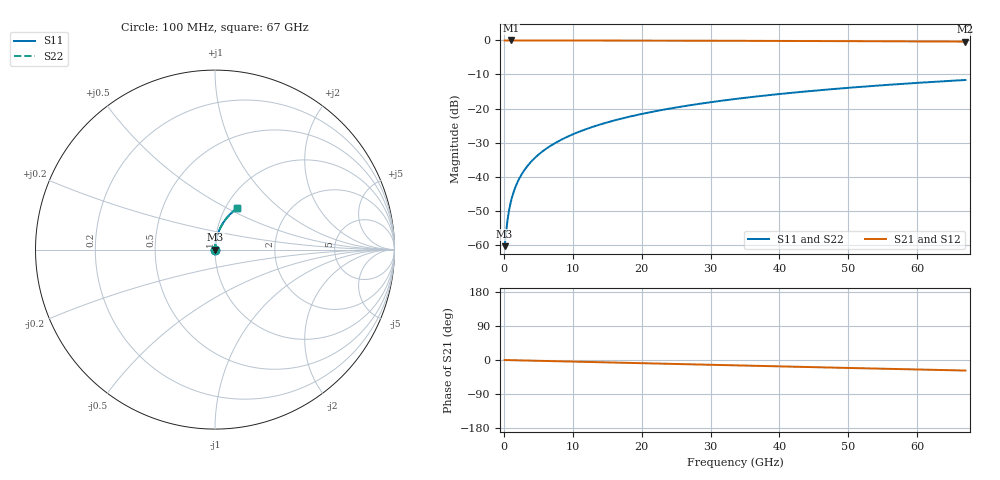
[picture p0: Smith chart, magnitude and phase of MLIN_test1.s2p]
! Touchstone Ver. 1.0
! Number of ports is 2
# Hz  S RI  R  50
! SCATTERING PARAMETERS  :
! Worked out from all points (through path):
!   670 points, 100 MHz to 67 GHz, reference 50 ohm
!   highest |S21| = -0.01 dB at 1 GHz (marker M1); lowest = -0.3 dB at 67 GHz (marker M2)
!   group delay of S21, straight-line fit = 1.16 ps
!   lowest |S11| = -60.4 dB at 100 MHz (marker M3), VSWR 1.00, Z = 50.1 + j0.0419 ohm
!   |S11| at or under -10 dB: start of sweep to end of sweep
!   |S22| runs from -60.4 to -11.6 dB; largest |S21 - S12| = 0
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1e8  0.000856 0.000418  0.9991 -0.000743  0.9991 -0.000743  0.000856 0.000418
3e8  0.000796 0.00126  0.9992 -0.00223  0.9992 -0.00223  0.000796 0.00126
6e8  0.000731 0.00251  0.9993 -0.00446  0.9993 -0.00446  0.000731 0.00251
7e8  0.000725 0.00293  0.9993 -0.0052  0.9993 -0.0052  0.000725 0.00293
1e9  0.00071 0.00419  0.9993 -0.00743  0.9993 -0.00743  0.00071 0.00419
1.2e9  0.000736 0.00502  0.9992 -0.00892  0.9992 -0.00892  0.000736 0.00502
1.5e9  0.00078 0.00628  0.9992 -0.0111  0.9992 -0.0111  0.00078 0.00628
1.8e9  0.00083 0.00753  0.9991 -0.0134  0.9991 -0.0134  0.00083 0.00753
2.2e9  0.000904 0.00921  0.9991 -0.0163  0.9991 -0.0163  0.000904 0.00921
3.1e9  0.00111 0.013  0.9988 -0.023  0.9988 -0.023  0.00111 0.013
4.2e9  0.00143 0.0176  0.9984 -0.0312  0.9984 -0.0312  0.00143 0.0176
5.6e9  0.00195 0.0234  0.9978 -0.0416  0.9978 -0.0416  0.00195 0.0234
7.2e9  0.0027 0.03  0.997 -0.0534  0.997 -0.0534  0.0027 0.03
9.1e9  0.0038 0.0379  0.9957 -0.0674  0.9957 -0.0674  0.0038 0.0379
1.13e10  0.00532 0.047  0.9939 -0.0836  0.9939 -0.0836  0.00532 0.047
1.62e10  0.0097 0.0669  0.9888 -0.1195  0.9888 -0.1195  0.0097 0.0669
2.24e10  0.0172 0.0915  0.9799 -0.1642  0.9799 -0.1642  0.0172 0.0915
2.76e10  0.0252 0.1114  0.9706 -0.201  0.9706 -0.201  0.0252 0.1114
3.36e10  0.0361 0.1334  0.9576 -0.2425  0.9576 -0.2425  0.0361 0.1334
4.47e10  0.0609 0.171  0.9281 -0.3162  0.9281 -0.3162  0.0609 0.171
5.59e10  0.0912 0.2038  0.8917 -0.3855  0.8917 -0.3855  0.0912 0.2038
6.7e10  0.1252 0.2308  0.8501 -0.4486  0.8501 -0.4486  0.1252 0.2308
